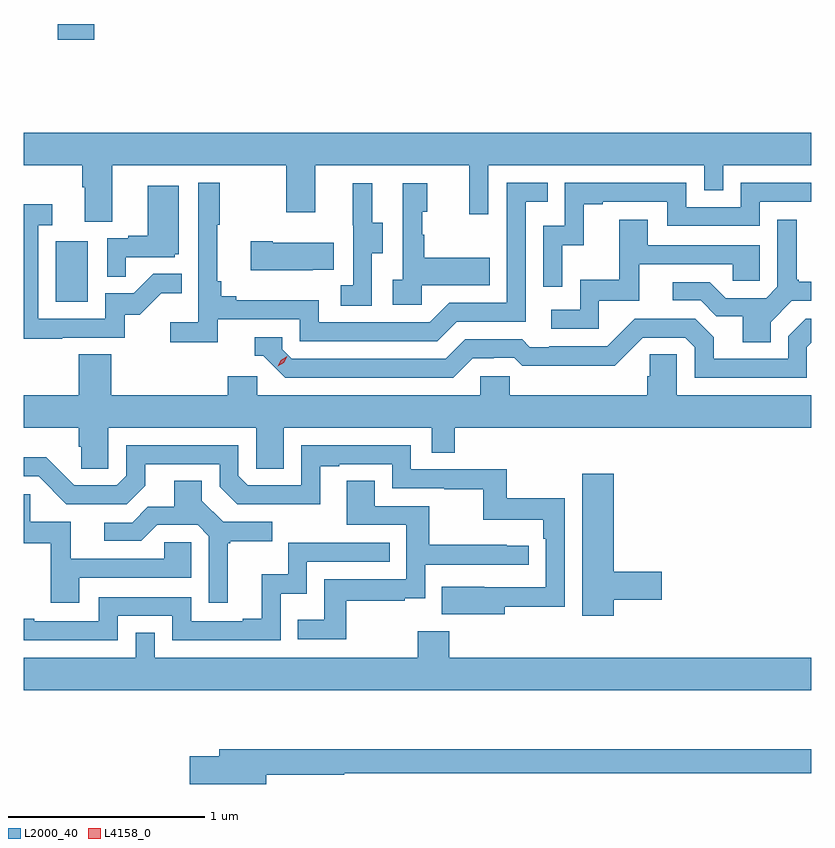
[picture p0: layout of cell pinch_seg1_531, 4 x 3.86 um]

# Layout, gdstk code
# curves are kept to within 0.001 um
import gdstk
lib = gdstk.Library(unit=1e-6, precision=1e-09)
def R(c, l, rs):  # rectangles x0, y0, x1, y1
    for r in rs: c.add(gdstk.rectangle(r[:2], r[2:], *l))
def P(c, l, *ps):  # polygons
    for p in ps: c.add(gdstk.Polygon(p, *l))
L2000_40 = (2000, 40)
L4158_0 = (4158, 0)

pinch_seg1_531 = lib.new_cell('pinch_seg1_531')
R(pinch_seg1_531, L2000_40, [(1045.994,531.06,1046.158,531.367), (1046.006,532.389,1046.189,532.469)])
P(pinch_seg1_531, L2000_40, [(1046.281,531.752),(1047.166,531.752),(1047.166,531.513),(1047.313,531.513),(1047.313,531.752),(1048.094,531.752),(1048.094,531.504),(1048.191,531.504),(1048.191,531.752),(1049.286,531.752),(1049.286,531.625),(1049.382,531.625),(1049.382,531.752),(1049.831,531.752),(1049.831,531.916),(1045.831,531.916),(1045.831,531.752),(1046.129,531.752),(1046.129,531.64),(1046.141,531.64),(1046.141,531.466),(1046.281,531.466)],
  [(1046.816,530.97),(1047.234,530.97),(1047.234,530.859),(1047.931,530.859),(1048.03,530.958),(1048.38,530.958),(1048.38,531.567),(1048.493,531.567),(1048.493,531.663),(1048.284,531.663),(1048.284,531.054),(1047.993,531.054),(1047.894,530.955),(1047.33,530.955),(1047.33,531.067),(1046.911,531.067),(1046.911,531.086),(1046.834,531.086),(1046.834,531.163),(1046.815,531.163),(1046.815,531.451),(1046.827,531.451),(1046.827,531.664),(1046.718,531.664),(1046.718,530.956),(1046.577,530.956),(1046.577,530.854),(1046.816,530.854)],
  [(1048.566,531.347),(1048.676,531.347),(1048.676,531.555),(1048.771,531.555),(1048.771,531.567),(1049.1,531.567),(1049.1,531.444),(1049.568,531.444),(1049.568,531.567),(1049.831,531.567),(1049.831,531.663),(1049.472,531.663),(1049.472,531.54),(1049.196,531.54),(1049.196,531.663),(1048.578,531.663),(1048.578,531.444),(1048.47,531.444),(1048.47,531.135),(1048.566,531.135)],
  [(1047.852,531.143),(1048.199,531.143),(1048.199,531.283),(1047.865,531.283),(1047.865,531.398),(1047.855,531.398),(1047.855,531.516),(1047.88,531.516),(1047.88,531.661),(1047.756,531.661),(1047.756,531.17),(1047.705,531.17),(1047.705,531.045),(1047.852,531.045)],
  [(1047.6,531.304),(1047.655,531.304),(1047.655,531.459),(1047.601,531.459),(1047.601,531.661),(1047.503,531.661),(1047.503,531.447),(1047.504,531.447),(1047.504,531.143),(1047.441,531.143),(1047.441,531.04),(1047.6,531.04)],
  [(1046.351,531.285),(1046.598,531.285),(1046.598,531.3),(1046.62,531.3),(1046.62,531.649),(1046.462,531.649),(1046.462,531.394),(1046.363,531.394),(1046.363,531.381),(1046.256,531.381),(1046.256,531.187),(1046.351,531.187)],
  [(1046.027,530.877),(1046.346,530.877),(1046.346,530.994),(1046.422,530.994),(1046.529,531.101),(1046.633,531.101),(1046.633,531.2),(1046.489,531.2),(1046.391,531.102),(1046.247,531.102),(1046.247,530.973),(1045.905,530.973),(1045.905,531.447),(1045.978,531.447),(1045.978,531.553),(1045.831,531.553),(1045.831,530.872),(1046.027,530.872)],
  [(1048.752,531.063),(1048.957,531.063),(1048.957,531.249),(1049.431,531.249),(1049.431,531.165),(1049.568,531.165),(1049.568,531.345),(1048.999,531.345),(1048.999,531.475),(1048.855,531.475),(1048.855,531.172),(1048.656,531.172),(1048.656,531.018),(1048.509,531.018),(1048.509,530.922),(1048.752,530.922)],
  [(1049.623,530.956),(1049.73,531.063),(1049.831,531.063),(1049.831,531.16),(1049.767,531.16),(1049.767,531.172),(1049.755,531.172),(1049.755,531.475),(1049.658,531.475),(1049.658,531.135),(1049.601,531.078),(1049.395,531.078),(1049.314,531.159),(1049.127,531.159),(1049.127,531.066),(1049.268,531.066),(1049.348,530.986),(1049.483,530.986),(1049.483,530.854),(1049.623,530.854)],
  [(1047.299,531.221),(1047.407,531.221),(1047.407,531.358),(1047.097,531.358),(1047.097,531.366),(1046.985,531.366),(1046.985,531.218),(1047.299,531.218)],
  [(1048.111,530.772),(1048.218,530.772),(1048.218,530.775),(1048.321,530.775),(1048.363,530.733),(1048.596,530.733),(1048.596,530.735),(1048.832,530.735),(1048.974,530.877),(1049.19,530.877),(1049.238,530.829),(1049.238,530.673),(1049.808,530.673),(1049.808,530.829),(1049.831,530.852),(1049.831,530.973),(1049.802,530.973),(1049.712,530.883),(1049.712,530.769),(1049.335,530.769),(1049.335,530.879),(1049.241,530.973),(1048.935,530.973),(1048.794,530.832),(1048.501,530.832),(1048.501,530.829),(1048.402,530.829),(1048.363,530.868),(1048.074,530.868),(1047.975,530.769),(1047.192,530.769),(1047.144,530.817),(1047.144,530.88),(1047.005,530.88),(1047.005,530.784),(1047.048,530.784),(1047.159,530.673),(1048.012,530.673)],
  [(1049.831,530.584),(1049.148,530.584),(1049.148,530.792),(1049.011,530.792),(1049.011,530.682),(1048.997,530.682),(1048.997,530.584),(1048.299,530.584),(1048.299,530.682),(1048.149,530.682),(1048.149,530.584),(1047.018,530.584),(1047.018,530.682),(1046.867,530.682),(1046.867,530.584),(1046.276,530.584),(1046.276,530.792),(1046.111,530.792),(1046.111,530.584),(1045.831,530.584),(1045.831,530.42),(1046.111,530.42),(1046.111,530.322),(1046.125,530.322),(1046.125,530.212),(1046.262,530.212),(1046.262,530.42),(1047.012,530.42),(1047.012,530.212),(1047.151,530.212),(1047.151,530.42),(1047.903,530.42),(1047.903,530.293),(1048.019,530.293),(1048.019,530.42),(1049.831,530.42)],
  [(1048.273,529.51),(1048.578,529.51),(1048.578,530.062),(1048.285,530.062),(1048.285,530.208),(1047.798,530.208),(1047.798,530.331),(1047.24,530.331),(1047.24,530.127),(1046.97,530.127),(1046.922,530.175),(1046.922,530.331),(1046.352,530.331),(1046.352,530.175),(1046.304,530.127),(1046.088,530.127),(1045.946,530.269),(1045.831,530.269),(1045.831,530.172),(1045.908,530.172),(1046.049,530.031),(1046.355,530.031),(1046.449,530.125),(1046.449,530.235),(1046.826,530.235),(1046.826,530.121),(1046.916,530.031),(1047.337,530.03),(1047.337,530.223),(1047.433,530.223),(1047.433,530.235),(1047.702,530.235),(1047.702,530.112),(1047.967,530.112),(1047.967,530.107),(1048.164,530.107),(1048.164,529.952),(1048.469,529.952),(1048.469,529.856),(1048.482,529.856),(1048.482,529.611),(1047.955,529.612),(1047.955,529.472),(1048.273,529.472)],
  [(1048.828,529.546),(1049.071,529.546),(1049.071,529.688),(1048.828,529.688),(1048.828,530.185),(1048.667,530.185),(1048.667,529.464),(1048.828,529.464)],
  [(1047.469,529.542),(1047.767,529.542),(1047.767,529.553),(1047.87,529.553),(1047.87,529.725),(1048.396,529.725),(1048.396,529.821),(1048.283,529.821),(1048.283,529.826),(1047.89,529.826),(1047.89,530.022),(1047.613,530.022),(1047.613,530.15),(1047.473,530.15),(1047.473,529.926),(1047.774,529.926),(1047.774,529.65),(1047.358,529.65),(1047.358,529.444),(1047.223,529.444),(1047.223,529.347),(1047.469,529.347)],
  [(1046.869,529.833),(1046.881,529.833),(1046.881,529.844),(1047.094,529.844),(1047.094,529.941),(1046.844,529.941),(1046.737,530.048),(1046.737,530.15),(1046.597,530.15),(1046.597,530.018),(1046.462,530.018),(1046.382,529.938),(1046.241,529.938),(1046.241,529.845),(1046.428,529.845),(1046.509,529.926),(1046.715,529.926),(1046.772,529.869),(1046.772,529.53),(1046.869,529.53)],
  [(1046.113,529.659),(1046.682,529.659),(1046.682,529.839),(1046.545,529.839),(1046.545,529.755),(1046.071,529.755),(1046.071,529.941),(1045.866,529.941),(1045.866,530.082),(1045.831,530.082),(1045.831,529.833),(1045.969,529.833),(1045.969,529.53),(1046.113,529.53)],
  [(1046.31,529.464),(1046.586,529.464),(1046.586,529.341),(1047.138,529.341),(1047.138,529.577),(1047.27,529.577),(1047.27,529.74),(1047.689,529.74),(1047.689,529.836),(1047.174,529.836),(1047.174,529.675),(1047.041,529.675),(1047.041,529.45),(1046.945,529.45),(1046.945,529.437),(1046.682,529.437),(1046.682,529.56),(1046.214,529.56),(1046.214,529.437),(1045.885,529.437),(1045.885,529.45),(1045.831,529.45),(1045.831,529.341),(1046.31,529.341)],
  [(1049.831,529.252),(1047.992,529.252),(1047.992,529.387),(1047.832,529.387),(1047.832,529.252),(1046.496,529.252),(1046.496,529.379),(1046.4,529.379),(1046.4,529.252),(1045.831,529.252),(1045.831,529.088),(1049.831,529.088)],
  [(1047.064,528.658),(1047.46,528.658),(1047.46,528.666),(1049.831,528.666),(1049.831,528.787),(1046.825,528.787),(1046.825,528.753),(1046.676,528.753),(1046.676,528.611),(1047.064,528.611)])
P(pinch_seg1_531, L4158_0, [(1047.121,530.731),(1047.121,530.731),(1047.138,530.763),(1047.169,530.782),(1047.169,530.782),(1047.169,530.782),(1047.152,530.75),(1047.121,530.731)])

lib.write_gds('pinch_seg1_531.gds')
